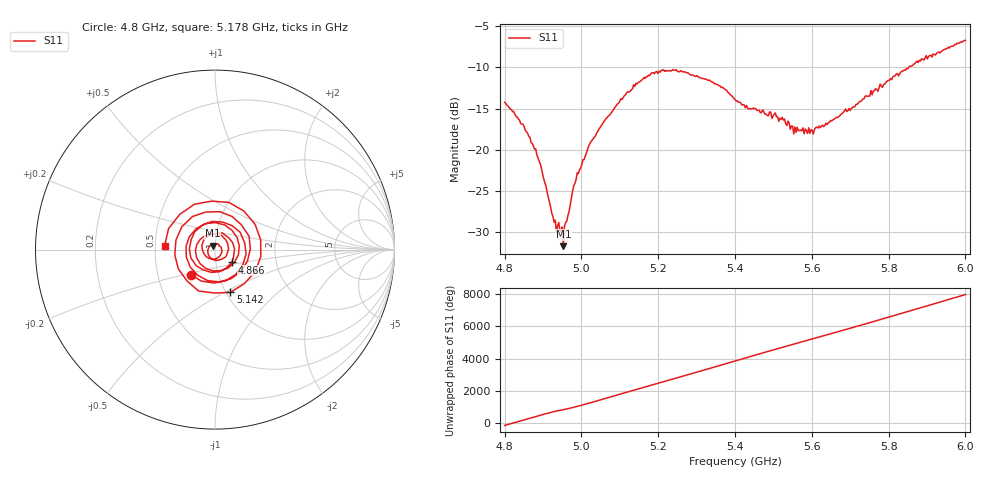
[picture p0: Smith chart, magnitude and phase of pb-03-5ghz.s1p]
! NanoVNA-App
! Date: 2026-05-22 17:19:59
! Start: 4.8GHz Stop: 6GHz Points: 401
! S-Parameter data: F S11
# Hz S RI R 50
!  Frequency  S11_Real  S11_Imag
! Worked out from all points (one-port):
!   401 points, 4.8 GHz to 6 GHz, reference 50 ohm
!   lowest |S11| = -31.7 dB at 4.953 GHz (marker M1), VSWR 1.05, Z = 48.7 + j2.19 ohm
!   |S11| at or under -10 dB: start of sweep to 5.852 GHz
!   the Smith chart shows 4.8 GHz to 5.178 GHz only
!   S11 on the Smith chart (normalised r, x): 4.8 GHz: 0.74, -0.21; 4.866 GHz: 1.20, -0.17; 5.142 GHz: 1.05, -0.53; 5.178 GHz: 0.56, +0.03
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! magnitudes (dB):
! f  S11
! 4.8 GHz  -14.2
! 4.83 GHz  -16.0
! 4.866 GHz  -18.5
! 4.881 GHz  -19.9
! 4.893 GHz  -21.7
! 4.929 GHz  -28.8
! 4.95 GHz  -29.4
! 4.953 GHz  -31.7
! 4.959 GHz  -28.8
! 4.983 GHz  -24.1
! 5.019 GHz  -19.5
! 5.058 GHz  -16.6
! 5.1 GHz  -14.1
! 5.142 GHz  -11.9
! 5.178 GHz  -11.0
! 5.214 GHz  -10.3
! 5.25 GHz  -10.5
! 5.337 GHz  -11.7
! 5.373 GHz  -12.6
! 5.4 GHz  -13.9
! 5.433 GHz  -15.0
! 5.523 GHz  -16.1
! 5.55 GHz  -17.1
! 5.601 GHz  -17.7
! 5.7 GHz  -15.2
! 5.85 GHz  -10.2
! 5.892 GHz  -9.1
! 6 GHz  -6.7
